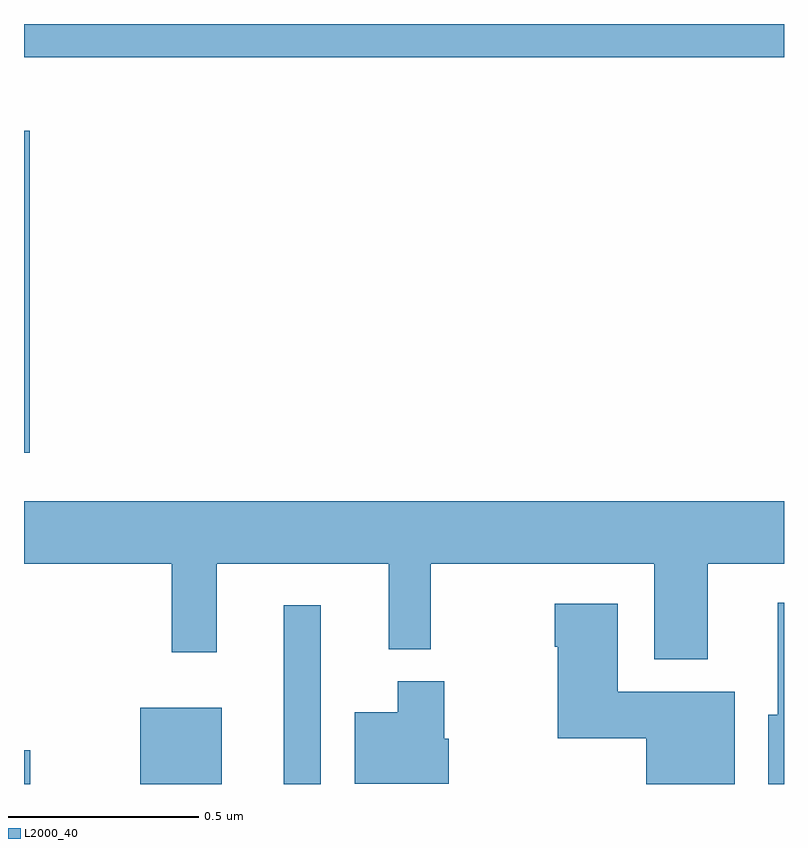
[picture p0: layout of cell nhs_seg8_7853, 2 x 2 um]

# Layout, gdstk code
import gdstk
lib = gdstk.Library(unit=1e-6, precision=1e-09)
def R(c, l, rs):  # rectangles x0, y0, x1, y1
    for r in rs: c.add(gdstk.rectangle(r[:2], r[2:], *l))
def P(c, l, *ps):  # polygons
    for p in ps: c.add(gdstk.Polygon(p, *l))
L2000_40 = (2000, 40)

nhs_seg8_7853 = lib.new_cell('nhs_seg8_7853')
R(nhs_seg8_7853, L2000_40, [(215,1135.9,215.017,1135.989), (215.306,1135.9,215.521,1136.101), (215.684,1135.9,215.781,1136.371), (215,1136.772,215.015,1137.619), (215,1137.812,217,1137.9)])
P(nhs_seg8_7853, L2000_40, [(215,1136.48),(215.389,1136.48),(215.389,1136.247),(215.507,1136.247),(215.507,1136.48),(215.96,1136.48),(215.96,1136.255),(216.07,1136.255),(216.07,1136.48),(216.659,1136.48),(216.659,1136.228),(216.799,1136.228),(216.799,1136.48),(217,1136.48),(217,1136.644),(215,1136.644)],
  [(217,1136.377),(216.983,1136.377),(216.983,1136.082),(216.959,1136.082),(216.959,1135.9),(217,1135.9)],
  [(216.871,1136.143),(216.562,1136.143),(216.562,1136.374),(216.397,1136.374),(216.397,1136.261),(216.404,1136.261),(216.404,1136.021),(216.638,1136.021),(216.638,1135.9),(216.871,1135.9)],
  [(216.118,1136.019),(216.106,1136.019),(216.106,1136.17),(215.984,1136.17),(215.984,1136.089),(215.87,1136.089),(215.87,1135.901),(216.118,1135.901)])

lib.write_gds('nhs_seg8_7853.gds')
